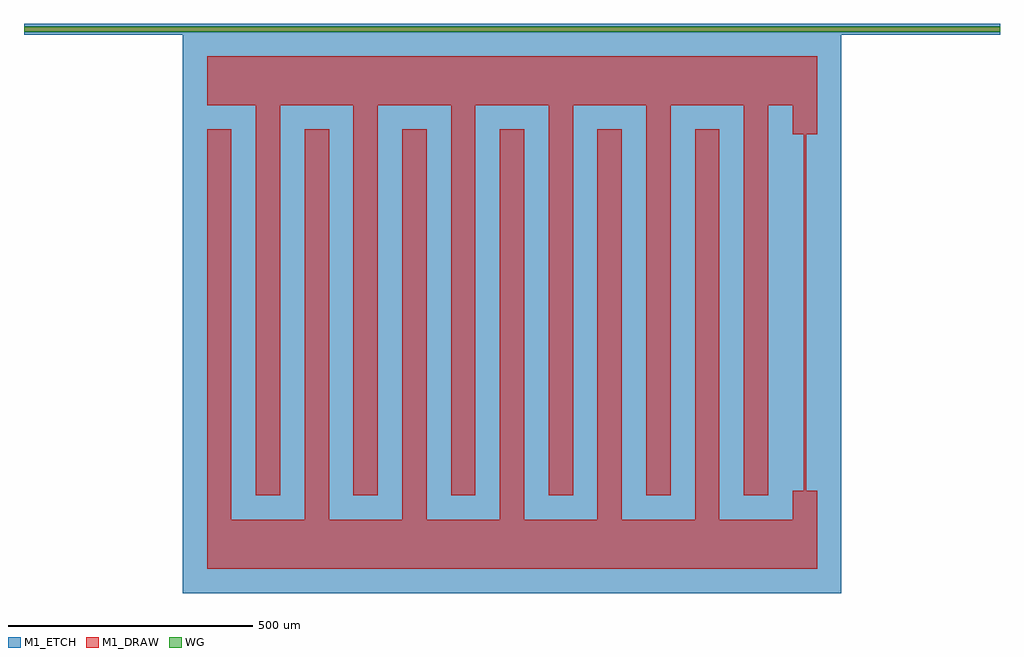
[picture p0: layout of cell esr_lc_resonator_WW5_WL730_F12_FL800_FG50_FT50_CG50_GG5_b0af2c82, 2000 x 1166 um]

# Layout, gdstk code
from math import pi, radians
import gdstk
lib = gdstk.Library(unit=1e-6, precision=1e-09)
def R(c, l, rs):  # rectangles x0, y0, x1, y1
    for r in rs: c.add(gdstk.rectangle(r[:2], r[2:], *l))
def P(c, l, *ps):  # polygons
    for p in ps: c.add(gdstk.Polygon(p, *l))
M1_DRAW = (1, 0)
M1_ETCH = (1, 1)
WG = (102, 0)

straight_l2000_cscpw_n2 = lib.new_cell('straight_L2000_CScpw_N2')
R(straight_l2000_cscpw_n2, M1_DRAW, [(0,-5,2000,5)])
R(straight_l2000_cscpw_n2, M1_ETCH, [(0,-11,2000,-5), (0,5,2000,11)])
R(straight_l2000_cscpw_n2, WG, [(0,-5,2000,5)])

interdigital_capacitor_f = lib.new_cell('interdigital_capacitor_F12_FL800_FG50_T50_LMM1_DRAW_ELN_5d5a96b4')
P(interdigital_capacitor_f, M1_DRAW, [(-525,-575),(-525,575),(375,575),(375,525),(-425,525),(-425,375),(375,375),(375,325),(-425,325),(-425,175),(375,175),(375,125),(-425,125),(-425,-25),(375,-25),(375,-75),(-425,-75),(-425,-225),(375,-225),(375,-275),(-425,-275),(-425,-425),(375,-425),(375,-475),(-425,-475),(-425,-575)],
  [(-375,-575),(-375,-525),(425,-525),(425,-375),(-375,-375),(-375,-325),(425,-325),(425,-175),(-375,-175),(-375,-125),(425,-125),(425,25),(-375,25),(-375,75),(425,75),(425,225),(-375,225),(-375,275),(425,275),(425,425),(-375,425),(-375,475),(425,475),(425,575),(525,575),(525,-575)])

esr_lc_resonator_ww5_wl7 = lib.new_cell('esr_lc_resonator_WW5_WL730_F12_FL800_FG50_FT50_CG50_GG5_b0af2c82')
R(esr_lc_resonator_ww5_wl7, M1_DRAW, [(525,-1105,625,-1005), (575,-1005,625,-945), (597.5,-945,602.5,-215), (575,-215,625,-155), (525,-155,625,-55)])
R(esr_lc_resonator_ww5_wl7, M1_ETCH, [(-675,-1155,675,-5)])
esr_lc_resonator_ww5_wl7.add(gdstk.Reference(straight_l2000_cscpw_n2, (-1000,0)))
esr_lc_resonator_ww5_wl7.add(gdstk.Reference(interdigital_capacitor_f, (-50,-580), rotation=3*pi/2))

lib.write_gds('esr_lc_resonator_WW5_WL730_F12_FL800_FG50_FT50_CG50_GG5_b0af2c82.gds')
